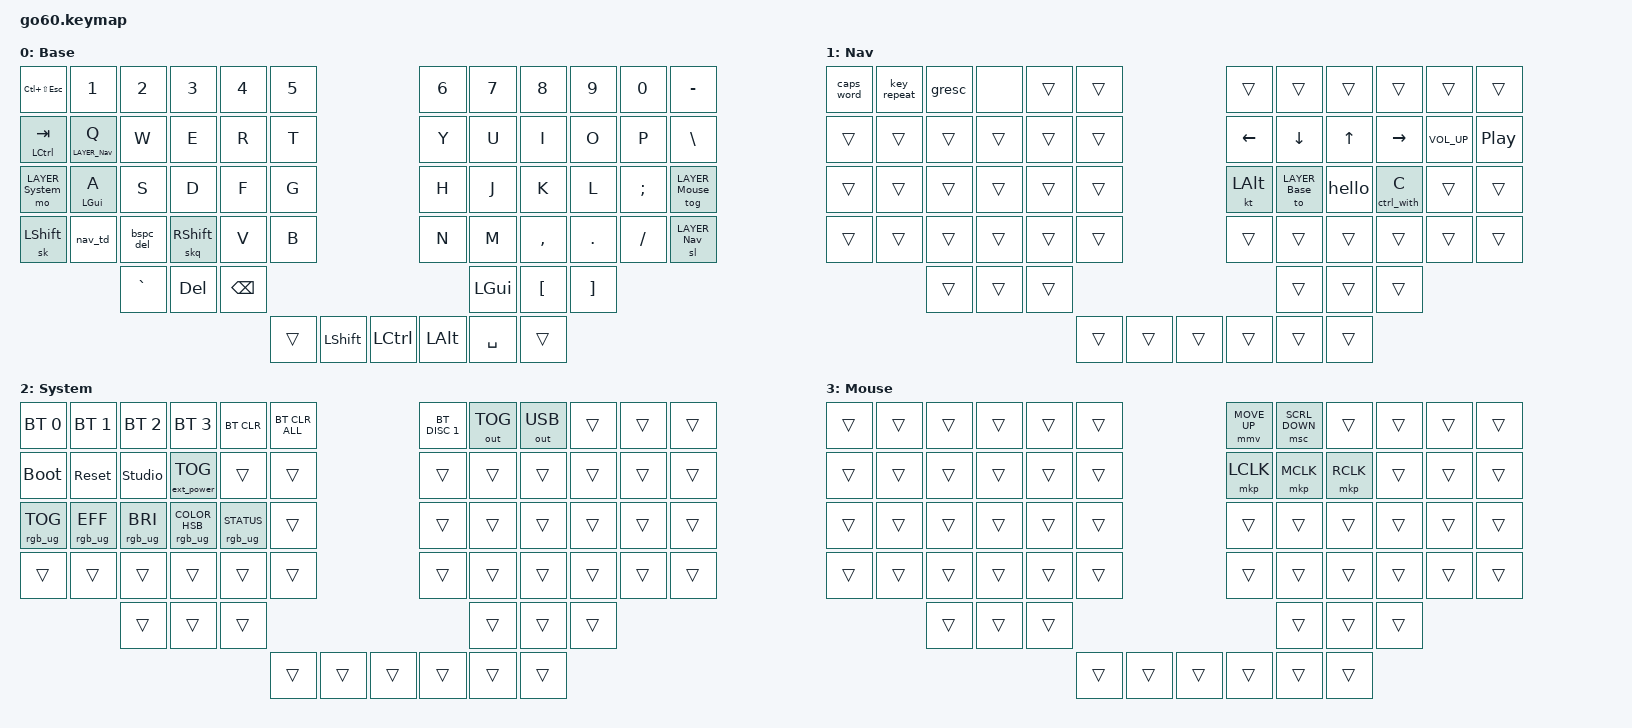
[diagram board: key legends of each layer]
/* Generated by Keyboard Curator. Change the board or the layout there, not this file. */

#include <behaviors.dtsi>
#include <dt-bindings/zmk/keys.h>
#include <dt-bindings/zmk/bt.h>
#include <dt-bindings/zmk/outputs.h>
#include <dt-bindings/zmk/rgb.h>
#include <dt-bindings/zmk/ext_power.h>
#include <dt-bindings/zmk/pointing.h>
#include <input/processors.dtsi>
#include <dt-bindings/zmk/input_transform.h>
#include <zephyr/dt-bindings/input/input-event-codes.h>

#define LAYER_Base 0
#define LAYER_Nav 1
#define LAYER_System 2
#define LAYER_Mouse 3

/ {
    input_processors {
        zip_click_to_right_click_mapper: zip_click_to_right_click_mapper {
            compatible = "zmk,input-processor-code-mapper";
            #input-processor-cells = <0>;
            type = <INPUT_EV_KEY>;
            map = <INPUT_BTN_0 INPUT_BTN_1>;
        };
    };

    behaviors {
        // Template: Home-row mod
        hml: hml {
            compatible = "zmk,behavior-hold-tap";
            #binding-cells = <2>;
            flavor = "balanced";
            tapping-term-ms = <280>;
            quick-tap-ms = <175>;
            require-prior-idle-ms = <150>;
            hold-trigger-key-positions = <6 7 8 9 10 11>;
            hold-trigger-on-release;
            bindings = <&kp>, <&kp>;
        };
        // Template: Nav tap-dance
        nav_td: nav_td {
            compatible = "zmk,behavior-tap-dance";
            #binding-cells = <0>;
            tapping-term-ms = <200>;
            bindings = <&mo LAYER_Nav>, <&to LAYER_Nav>;
        };
        // Template: Backspace or Delete
        bspc_del: bspc_del {
            compatible = "zmk,behavior-mod-morph";
            #binding-cells = <0>;
            bindings = <&kp BSPC>, <&kp DEL>;
            mods = <(MOD_LSFT|MOD_RSFT)>;
        };
        // Template: Quick sticky key
        skq: skq {
            compatible = "zmk,behavior-sticky-key";
            #binding-cells = <1>;
            bindings = <&kp>;
            release-after-ms = <800>;
            quick-release;
            ignore-modifiers;
        };
    };

    macros {
        // Template: Type Hi
        hello: hello {
            compatible = "zmk,behavior-macro";
            #binding-cells = <0>;
            wait-ms = <30>;
            tap-ms = <30>;
            bindings
                = <&macro_press &kp LSHFT>
                , <&macro_tap &kp H>
                , <&macro_release &kp LSHFT>
                , <&macro_wait_time 50>
                , <&macro_tap &kp I>
                , <&macro_pause_for_release>
                , <&macro_tap &kp EXCL>
                ;
        };
        // Template: Ctrl with a key
        ctrl_with: ctrl_with {
            compatible = "zmk,behavior-macro-one-param";
            #binding-cells = <1>;
            bindings
                = <&macro_press &kp LCTRL>
                , <&macro_param_1to1>
                , <&macro_tap &kp MACRO_PLACEHOLDER>
                , <&macro_release &kp LCTRL>
                ;
        };
    };

    combos {
        compatible = "zmk,combos";
        combo_caps_word_11 {
            timeout-ms = <40>;
            key-positions = <40 43>;
            bindings = <&caps_word>;
            layers = <LAYER_Base LAYER_Nav>;
            require-prior-idle-ms = <100>;
            slow-release;
        };
        combo_escape_12 {
            key-positions = <13 14>;
            bindings = <&kp ESC>;
        };
    };

    conditional_layers {
        compatible = "zmk,conditional-layers";
        rule_0 {
            if-layers = <LAYER_Nav LAYER_Mouse>;
            then-layer = <LAYER_System>;
        };
    };

    keymap {
        compatible = "zmk,keymap";

        layer_0_Base {
            display-name = "Base";
            bindings = <
                &kp LC(LS(ESC))   &kp N1           &kp N2     &kp N3      &kp N4    &kp N5                                                     &kp N6  &kp N7    &kp N8     &kp N9    &kp N0    &kp MINUS
                &mt LCTRL TAB     &lt LAYER_Nav Q  &kp W      &kp E       &kp R     &kp T                                                      &kp Y   &kp U     &kp I      &kp O     &kp P     &kp BSLH
                &mo LAYER_System  &hml LGUI A      &kp S      &kp D       &kp F     &kp G                                                      &kp H   &kp J     &kp K      &kp L     &kp SEMI  &tog LAYER_Mouse
                &sk LSHFT         &nav_td          &bspc_del  &skq RSHFT  &kp V     &kp B                                                      &kp N   &kp M     &kp COMMA  &kp DOT   &kp FSLH  &sl LAYER_Nav
                                                   &kp GRAVE  &kp DEL     &kp BSPC                                                                     &kp LGUI  &kp LBKT   &kp RBKT
                                                                                    &trans  &kp LSHFT  &kp LCTRL  &kp LALT  &kp SPACE  &trans
            >;
        };

        layer_1_Nav {
            display-name = "Nav";
            bindings = <
                &caps_word  &key_repeat  &gresc  &none   &trans  &trans                                          &trans    &trans          &trans  &trans        &trans        &trans
                &trans      &trans       &trans  &trans  &trans  &trans                                          &kp LEFT  &kp DOWN        &kp UP  &kp RIGHT     &kp C_VOL_UP  &kp C_PP
                &trans      &trans       &trans  &trans  &trans  &trans                                          &kt LALT  &to LAYER_Base  &hello  &ctrl_with C  &trans        &trans
                &trans      &trans       &trans  &trans  &trans  &trans                                          &trans    &trans          &trans  &trans        &trans        &trans
                                         &trans  &trans  &trans                                                            &trans          &trans  &trans
                                                                 &trans  &trans  &trans  &trans  &trans  &trans
            >;
        };

        layer_2_System {
            display-name = "System";
            bindings = <
                &bt BT_SEL 0     &bt BT_SEL 1     &bt BT_SEL 2     &bt BT_SEL 3                       &bt BT_CLR          &bt BT_CLR_ALL                                          &bt BT_DISC 1  &out OUT_TOG  &out OUT_USB  &trans  &trans  &trans
                &bootloader      &sys_reset       &studio_unlock   &ext_power EP_TOG                  &trans              &trans                                                  &trans         &trans        &trans        &trans  &trans  &trans
                &rgb_ug RGB_TOG  &rgb_ug RGB_EFF  &rgb_ug RGB_BRI  &rgb_ug RGB_COLOR_HSB(120,100,30)  &rgb_ug RGB_STATUS  &trans                                                  &trans         &trans        &trans        &trans  &trans  &trans
                &trans           &trans           &trans           &trans                             &trans              &trans                                                  &trans         &trans        &trans        &trans  &trans  &trans
                                                  &trans           &trans                             &trans                                                                                     &trans        &trans        &trans
                                                                                                                          &trans          &trans  &trans  &trans  &trans  &trans
            >;
        };

        layer_3_Mouse {
            display-name = "Mouse";
            bindings = <
                &trans  &trans  &trans  &trans  &trans  &trans                                          &mmv MOVE_UP  &msc SCRL_DOWN  &trans     &trans  &trans  &trans
                &trans  &trans  &trans  &trans  &trans  &trans                                          &mkp LCLK     &mkp MCLK       &mkp RCLK  &trans  &trans  &trans
                &trans  &trans  &trans  &trans  &trans  &trans                                          &trans        &trans          &trans     &trans  &trans  &trans
                &trans  &trans  &trans  &trans  &trans  &trans                                          &trans        &trans          &trans     &trans  &trans  &trans
                                &trans  &trans  &trans                                                                &trans          &trans     &trans
                                                        &trans  &trans  &trans  &trans  &trans  &trans
            >;
        };

        reserved_0 {
            status = "reserved";
        };

        reserved_1 {
            status = "reserved";
        };

        reserved_2 {
            status = "reserved";
        };

        reserved_3 {
            status = "reserved";
        };
    };
};

&cirque_lh_listener {
    input-processors = <&zip_xy_scaler 1 3>, <&zip_xy_to_scroll_mapper>, <&zip_scroll_transform (INPUT_TRANSFORM_Y_INVERT)>;
    override_0 {
        layers = <LAYER_Nav>;
        input-processors = <&zip_xy_scaler 2 1>;
    };
};

&cirque_rh_listener {
    input-processors = <&zip_click_to_right_click_mapper>, <&zip_temp_layer LAYER_Mouse 500>;
};

&mmv_input_listener {
    override_0 {
        layers = <LAYER_Nav>;
        input-processors = <&zip_xy_scaler 1 4>;
    };
};

&msc_input_listener {
    input-processors = <&zip_scroll_scaler 3 2>;
};
